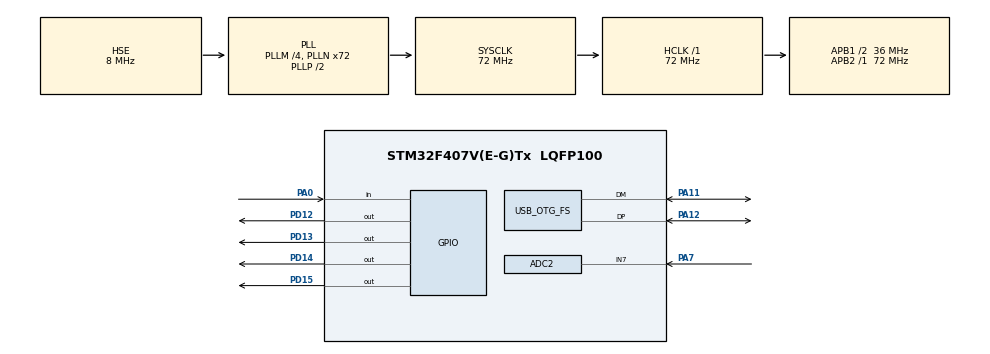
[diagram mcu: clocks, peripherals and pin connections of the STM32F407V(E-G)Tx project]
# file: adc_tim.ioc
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ADC2.Channel-0\#ChannelRegularConversion=ADC_CHANNEL_7
ADC2.ClockPrescaler=ADC_CLOCK_SYNC_PCLK_DIV2
ADC2.DMAContinuousRequests=ENABLE
ADC2.NbrOfConversionFlag=1
ADC2.Rank-0\#ChannelRegularConversion=1
ADC2.Resolution=ADC_RESOLUTION_8B
ADC2.SamplingTime-0\#ChannelRegularConversion=ADC_SAMPLETIME_3CYCLES
Dma.ADC2.0.Direction=DMA_PERIPH_TO_MEMORY
Dma.ADC2.0.FIFOMode=DMA_FIFOMODE_ENABLE
Dma.ADC2.0.FIFOThreshold=DMA_FIFO_THRESHOLD_HALFFULL
Dma.ADC2.0.Instance=DMA2_Stream2
Dma.ADC2.0.MemBurst=DMA_MBURST_SINGLE
Dma.ADC2.0.MemDataAlignment=DMA_MDATAALIGN_HALFWORD
Dma.ADC2.0.MemInc=DMA_MINC_ENABLE
Dma.ADC2.0.Mode=DMA_CIRCULAR
Dma.ADC2.0.PeriphBurst=DMA_PBURST_SINGLE
Dma.ADC2.0.PeriphDataAlignment=DMA_PDATAALIGN_HALFWORD
Dma.ADC2.0.PeriphInc=DMA_PINC_DISABLE
Dma.ADC2.0.Priority=DMA_PRIORITY_MEDIUM
Dma.Request0=ADC2
Mcu.Family=STM32F4
Mcu.Name=STM32F407V(E-G)Tx
Mcu.Package=LQFP100
NVIC.DMA2_Stream2_IRQn=true\:0\:0\:false\:false\:true\:false\:true
NVIC.OTG_FS_IRQn=true\:0\:0\:false\:false\:true\:true\:true
NVIC.PriorityGroup=NVIC_PRIORITYGROUP_4
NVIC.TIM3_IRQn=true\:0\:0\:false\:false\:true\:true\:true
PA0-WKUP.Signal=GPIO_Input
PA11.Mode=Device_Only
PA11.Signal=USB_OTG_FS_DM
PA12.Mode=Device_Only
PA12.Signal=USB_OTG_FS_DP
PA7.Signal=ADCx_IN7
PD12.Signal=GPIO_Output
PD13.Signal=GPIO_Output
PD14.Signal=GPIO_Output
PD15.Signal=GPIO_Output
PH0-OSC_IN.Mode=HSE-External-Oscillator
PH0-OSC_IN.Signal=RCC_OSC_IN
PH1-OSC_OUT.Mode=HSE-External-Oscillator
PH1-OSC_OUT.Signal=RCC_OSC_OUT
ProjectManager.HeapSize=0x200
ProjectManager.StackSize=0x400
ProjectManager.TargetToolchain=MDK-ARM V5.27
RCC.48MHZClocksFreq_Value=48000000
RCC.AHBFreq_Value=72000000
RCC.APB1CLKDivider=RCC_HCLK_DIV2
RCC.APB1Freq_Value=36000000
RCC.APB1TimFreq_Value=72000000
RCC.APB2Freq_Value=72000000
RCC.APB2TimFreq_Value=72000000
RCC.CortexFreq_Value=72000000
RCC.HCLKFreq_Value=72000000
RCC.HSE_VALUE=8000000
RCC.HSI_VALUE=16000000
RCC.LSE_VALUE=32768
RCC.PLLM=4
RCC.PLLN=72
RCC.PLLQ=3
RCC.SYSCLKFreq_VALUE=72000000
RCC.SYSCLKSource=RCC_SYSCLKSOURCE_PLLCLK
RCC.VCOOutputFreq_Value=144000000
SH.ADCx_IN7.0=ADC2_IN7,IN7
TIM3.Period=1000
TIM3.Prescaler=1
USB_DEVICE.APP_RX_DATA_SIZE-CDC_FS=64
USB_DEVICE.APP_TX_DATA_SIZE-CDC_FS=64
USB_DEVICE.CLASS_NAME_FS=CDC
USB_DEVICE.USBD_MAX_STR_DESC_SIZ-CDC_FS=512
USB_DEVICE.VirtualMode-CDC_FS=Cdc
USB_DEVICE.VirtualModeFS=Cdc_FS
USB_OTG_FS.VirtualMode=Device_Only
VP_TIM3_VS_ClockSourceINT.Mode=Internal
VP_USB_DEVICE_VS_USB_DEVICE_CDC_FS.Mode=CDC_FS
board=custom

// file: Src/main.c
/* USER CODE BEGIN Header */
/**
  ******************************************************************************
  * @file           : main.c
  * @brief          : Main program body
  ******************************************************************************
  * @attention
  *
  * <h2><center>&copy; Copyright (c) 2020 STMicroelectronics.
  * All rights reserved.</center></h2>
  *
  * This software component is licensed by ST under BSD 3-Clause license,
  * the "License"; You may not use this file except in compliance with the
  * License. You may obtain a copy of the License at:
  *                        opensource.org/licenses/BSD-3-Clause
  *
  ******************************************************************************
  */
/* USER CODE END Header */

#include "main.h"
#include "usb_device.h"

ADC_HandleTypeDef hadc2;
DMA_HandleTypeDef hdma_adc2;

TIM_HandleTypeDef htim3;

void SystemClock_Config(void);
static void MX_GPIO_Init(void);
static void MX_DMA_Init(void);
static void MX_TIM3_Init(void);
static void MX_ADC2_Init(void);

/* USER CODE BEGIN 0 */
uint32_t ADC_Data[1];
uint32_t ADC_sound[1];
uint32_t i=0,j=0,k=0;
char str_rx[21];
char str_tx[30];
//queue<uint32_t> my_data;
uint8_t sample[30000];
/* USER CODE END 0 */

int main(void)
{

  /* MCU Configuration--------------------------------------------------------*/

  /* Reset of all peripherals, Initializes the Flash interface and the Systick. */
  HAL_Init();

  /* Configure the system clock */
  SystemClock_Config();

  /* Initialize all configured peripherals */
  MX_GPIO_Init();
  MX_DMA_Init();
  MX_TIM3_Init();
  MX_ADC2_Init();
  MX_USB_DEVICE_Init();
  /* USER CODE BEGIN 2 */
//	sprintf(str_tx," USB_Transmit\r\n");
//	CDC_Transmit_FS((uint8_t*)str_tx, strlen(str_tx));
	HAL_TIM_Base_Start_IT(&htim3);
//	HAL_ADC_Start_DMA(&hadc1,(uint32_t*) &ADC_Data, 1);
	HAL_ADC_Start_DMA(&hadc2,(uint32_t*) &ADC_sound, 1);
  /* USER CODE END 2 */

  /* Infinite loop */
  while (1)
  {

  }
}

void SystemClock_Config(void)
{
  RCC_OscInitTypeDef RCC_OscInitStruct = {0};
  RCC_ClkInitTypeDef RCC_ClkInitStruct = {0};

  /** Configure the main internal regulator output voltage
  */
  __HAL_RCC_PWR_CLK_ENABLE();
  __HAL_PWR_VOLTAGESCALING_CONFIG(PWR_REGULATOR_VOLTAGE_SCALE1);
  /** Initializes the CPU, AHB and APB busses clocks
  */
  RCC_OscInitStruct.OscillatorType = RCC_OSCILLATORTYPE_HSE;
  RCC_OscInitStruct.HSEState = RCC_HSE_ON;
  RCC_OscInitStruct.PLL.PLLState = RCC_PLL_ON;
  RCC_OscInitStruct.PLL.PLLSource = RCC_PLLSOURCE_HSE;
  RCC_OscInitStruct.PLL.PLLM = 4;
  RCC_OscInitStruct.PLL.PLLN = 72;
  RCC_OscInitStruct.PLL.PLLP = RCC_PLLP_DIV2;
  RCC_OscInitStruct.PLL.PLLQ = 3;
  if (HAL_RCC_OscConfig(&RCC_OscInitStruct) != HAL_OK)
  {
    Error_Handler();
  }
  /** Initializes the CPU, AHB and APB busses clocks
  */
  RCC_ClkInitStruct.ClockType = RCC_CLOCKTYPE_HCLK|RCC_CLOCKTYPE_SYSCLK
                              |RCC_CLOCKTYPE_PCLK1|RCC_CLOCKTYPE_PCLK2;
  RCC_ClkInitStruct.SYSCLKSource = RCC_SYSCLKSOURCE_PLLCLK;
  RCC_ClkInitStruct.AHBCLKDivider = RCC_SYSCLK_DIV1;
  RCC_ClkInitStruct.APB1CLKDivider = RCC_HCLK_DIV2;
  RCC_ClkInitStruct.APB2CLKDivider = RCC_HCLK_DIV1;

  if (HAL_RCC_ClockConfig(&RCC_ClkInitStruct, FLASH_LATENCY_2) != HAL_OK)
  {
    Error_Handler();
  }
}

static void MX_ADC2_Init(void)
{

  ADC_ChannelConfTypeDef sConfig = {0};

  /** Configure the global features of the ADC (Clock, Resolution, Data Alignment and number of conversion)
  */
  hadc2.Instance = ADC2;
  hadc2.Init.ClockPrescaler = ADC_CLOCK_SYNC_PCLK_DIV2;
  hadc2.Init.Resolution = ADC_RESOLUTION_8B;
  hadc2.Init.ScanConvMode = DISABLE;
  hadc2.Init.ContinuousConvMode = DISABLE;
  hadc2.Init.DiscontinuousConvMode = DISABLE;
  hadc2.Init.ExternalTrigConvEdge = ADC_EXTERNALTRIGCONVEDGE_NONE;
  hadc2.Init.ExternalTrigConv = ADC_SOFTWARE_START;
  hadc2.Init.DataAlign = ADC_DATAALIGN_RIGHT;
  hadc2.Init.NbrOfConversion = 1;
  hadc2.Init.DMAContinuousRequests = ENABLE;
  hadc2.Init.EOCSelection = ADC_EOC_SINGLE_CONV;
  if (HAL_ADC_Init(&hadc2) != HAL_OK)
  {
    Error_Handler();
  }
  /** Configure for the selected ADC regular channel its corresponding rank in the sequencer and its sample time.
  */
  sConfig.Channel = ADC_CHANNEL_7;
  sConfig.Rank = 1;
  sConfig.SamplingTime = ADC_SAMPLETIME_3CYCLES;
  if (HAL_ADC_ConfigChannel(&hadc2, &sConfig) != HAL_OK)
  {
    Error_Handler();
  }

}

static void MX_TIM3_Init(void)
{

  TIM_ClockConfigTypeDef sClockSourceConfig = {0};
  TIM_MasterConfigTypeDef sMasterConfig = {0};

  htim3.Instance = TIM3;
  htim3.Init.Prescaler = 1;
  htim3.Init.CounterMode = TIM_COUNTERMODE_UP;
  htim3.Init.Period = 1000;
  htim3.Init.ClockDivision = TIM_CLOCKDIVISION_DIV1;
  htim3.Init.AutoReloadPreload = TIM_AUTORELOAD_PRELOAD_DISABLE;
  if (HAL_TIM_Base_Init(&htim3) != HAL_OK)
  {
    Error_Handler();
  }
  sClockSourceConfig.ClockSource = TIM_CLOCKSOURCE_INTERNAL;
  if (HAL_TIM_ConfigClockSource(&htim3, &sClockSourceConfig) != HAL_OK)
  {
    Error_Handler();
  }
  sMasterConfig.MasterOutputTrigger = TIM_TRGO_RESET;
  sMasterConfig.MasterSlaveMode = TIM_MASTERSLAVEMODE_DISABLE;
  if (HAL_TIMEx_MasterConfigSynchronization(&htim3, &sMasterConfig) != HAL_OK)
  {
    Error_Handler();
  }

}

static void MX_DMA_Init(void)
{

  /* DMA controller clock enable */
  __HAL_RCC_DMA2_CLK_ENABLE();

  /* DMA interrupt init */
  /* DMA2_Stream2_IRQn interrupt configuration */
  HAL_NVIC_SetPriority(DMA2_Stream2_IRQn, 0, 0);
  HAL_NVIC_EnableIRQ(DMA2_Stream2_IRQn);

}

static void MX_GPIO_Init(void)
{
  GPIO_InitTypeDef GPIO_InitStruct = {0};

  /* GPIO Ports Clock Enable */
  __HAL_RCC_GPIOH_CLK_ENABLE();
  __HAL_RCC_GPIOA_CLK_ENABLE();
  __HAL_RCC_GPIOD_CLK_ENABLE();

  /*Configure GPIO pin Output Level */
  HAL_GPIO_WritePin(GPIOD, GPIO_PIN_12|GPIO_PIN_13|GPIO_PIN_14|GPIO_PIN_15, GPIO_PIN_RESET);

  /*Configure GPIO pin : PA0 */
  GPIO_InitStruct.Pin = GPIO_PIN_0;
  GPIO_InitStruct.Mode = GPIO_MODE_INPUT;
  GPIO_InitStruct.Pull = GPIO_NOPULL;
  HAL_GPIO_Init(GPIOA, &GPIO_InitStruct);

  /*Configure GPIO pins : PD12 PD13 PD14 PD15 */
  GPIO_InitStruct.Pin = GPIO_PIN_12|GPIO_PIN_13|GPIO_PIN_14|GPIO_PIN_15;
  GPIO_InitStruct.Mode = GPIO_MODE_OUTPUT_PP;
  GPIO_InitStruct.Pull = GPIO_NOPULL;
  GPIO_InitStruct.Speed = GPIO_SPEED_FREQ_LOW;
  HAL_GPIO_Init(GPIOD, &GPIO_InitStruct);

}

/* USER CODE BEGIN 4 */
void HAL_ADC_ConvCpltCallback(ADC_HandleTypeDef* hadc1)
{
	//HAL_ADC_Start_IT(hadc1);

}
void HAL_TIM_PeriodElapsedCallback(TIM_HandleTypeDef *htim) {
    if(htim->Instance == TIM3) {
			//sprintf(str_tx,"%4s%04d%s%d%4s","$",ADC_sound[0]," ",ADC_Data[0],";\r\n");
			//HAL_ADC_Start_DMA(&hadc1,(uint32_t*) &ADC_Data, 1);
			//HAL_GPIO_TogglePin(GPIOD, GPIO_PIN_15);
			if(i< 30000){
				HAL_GPIO_TogglePin(GPIOD, GPIO_PIN_14);
				HAL_ADC_Start_DMA(&hadc2,(uint32_t*) &ADC_sound, 1);
				sample[i] = ADC_sound[0];
				i++;
				HAL_ADC_Stop_DMA(&hadc2);
			}
			j++;
			if ((j>=100)&&(k<30000)){
				HAL_GPIO_TogglePin(GPIOD, GPIO_PIN_15);
				sprintf(str_tx,"%s%4d%s","$",sample[k],";\r\n");
				//sprintf(str_tx,"%04d  %04d  %.2fv %4s",i,ADC_Data,u,"\r\n");
				CDC_Transmit_FS((uint16_t*)str_tx, strlen(str_tx));
				j=0;
				k++;
			}
    }
}
/* USER CODE END 4 */

void Error_Handler(void)
{
}

/************************ (C) COPYRIGHT STMicroelectronics *****END OF FILE****/
